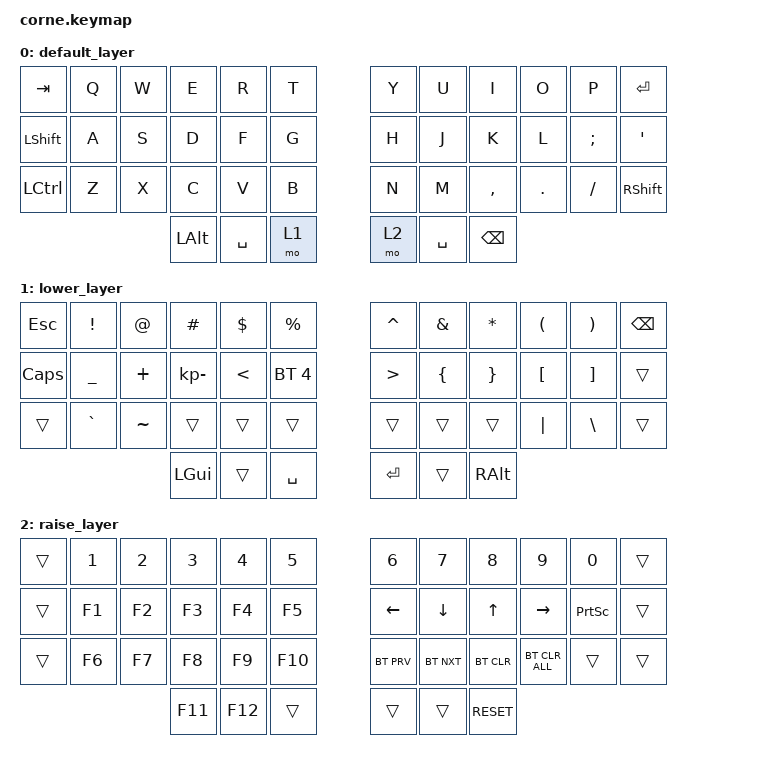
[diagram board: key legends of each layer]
/*
 * Copyright (c) 2020 The ZMK Contributors
 *
 * SPDX-License-Identifier: MIT
 */

#include <behaviors.dtsi>
#include <dt-bindings/zmk/bt.h>
#include <dt-bindings/zmk/keys.h>

/ {
    keymap {
        compatible = "zmk,keymap";

        default_layer {
            // -----------------------------------------------------------------------------------------
            // |  TAB |  Q  |  W  |  E  |  R  |  T  |   |  Y  |  U   |  I  |  O  |  P  | BSPC |
            // | CTRL |  A  |  S  |  D  |  F  |  G  |   |  H  |  J   |  K  |  L  |  ;  |  '   |
            // | SHFT |  Z  |  X  |  C  |  V  |  B  |   |  N  |  M   |  ,  |  .  |  /  | ESC  |
            //                    | GUI | LWR | SPC |   | ENT | RSE  | ALT |

            bindings = <
&kp TAB         &kp Q  &kp W  &kp E         &kp R      &kp T    &kp Y  &kp U      &kp I          &kp O    &kp P     &kp ENTER
&kp LEFT_SHIFT  &kp A  &kp S  &kp D         &kp F      &kp G    &kp H  &kp J      &kp K          &kp L    &kp SEMI  &kp SQT
&kp LCTRL       &kp Z  &kp X  &kp C         &kp V      &kp B    &kp N  &kp M      &kp COMMA      &kp DOT  &kp FSLH  &kp RSHFT
                              &kp LEFT_ALT  &kp SPACE  &mo 1    &mo 2  &kp SPACE  &kp BACKSPACE
            >;
        };

        lower_layer {
            // -----------------------------------------------------------------------------------------
            // |  TAB |  1  |  2  |  3  |  4  |  5  |   |  6  |  7  |  8  |  9  |  0  | BSPC |
            // | BTCLR| BT1 | BT2 | BT3 | BT4 | BT5 |   | LFT | DWN |  UP | RGT |     |      |
            // | SHFT |     |     |     |     |     |   |     |     |     |     |     |      |
            //                    | GUI |     | SPC |   | ENT |     | ALT |

            bindings = <
&kp ESCAPE    &kp EXCLAMATION  &kp AT     &kp POUND     &kp DLLR       &kp PERCENT     &kp CARET         &kp AMPERSAND   &kp ASTERISK     &kp LEFT_PARENTHESIS  &kp RIGHT_PARENTHESIS  &kp BSPC
&kp CAPSLOCK  &kp UNDER        &kp PLUS   &kp KP_MINUS  &kp LESS_THAN  &bt BT_SEL 4    &kp GREATER_THAN  &kp LEFT_BRACE  &kp RIGHT_BRACE  &kp LEFT_BRACKET      &kp RIGHT_BRACKET      &trans
&trans        &kp GRAVE        &kp TILDE  &trans        &trans         &trans          &trans            &trans          &trans           &kp PIPE              &kp BACKSLASH          &trans
                                          &kp LGUI      &trans         &kp SPACE       &kp RET           &trans          &kp RALT
            >;
        };

        raise_layer {
            // -----------------------------------------------------------------------------------------
            // |  TAB |  !  |  @  |  #  |  $  |  %  |   |  ^  |  &  |  *  |  (  |  )  | BSPC |
            // | CTRL |     |     |     |     |     |   |  -  |  =  |  [  |  ]  |  \  |  `   |
            // | SHFT |     |     |     |     |     |   |  _  |  +  |  {  |  }  | "|" |  ~   |
            //                    | GUI |     | SPC |   | ENT |     | ALT |

            bindings = <
&trans  &kp N1  &kp N2  &kp N3   &kp N4   &kp N5     &kp N6          &kp N7      &kp N8        &kp N9           &kp N0           &trans
&trans  &kp F1  &kp F2  &kp F3   &kp F4   &kp F5     &kp LEFT_ARROW  &kp DOWN    &kp UP_ARROW  &kp RIGHT_ARROW  &kp PRINTSCREEN  &trans
&trans  &kp F6  &kp F7  &kp F8   &kp F9   &kp F10    &bt BT_PRV      &bt BT_NXT  &bt BT_CLR    &bt BT_CLR_ALL   &trans           &trans
                        &kp F11  &kp F12  &trans     &trans          &trans      &kp C_RESET
            >;
        };
    };
};
